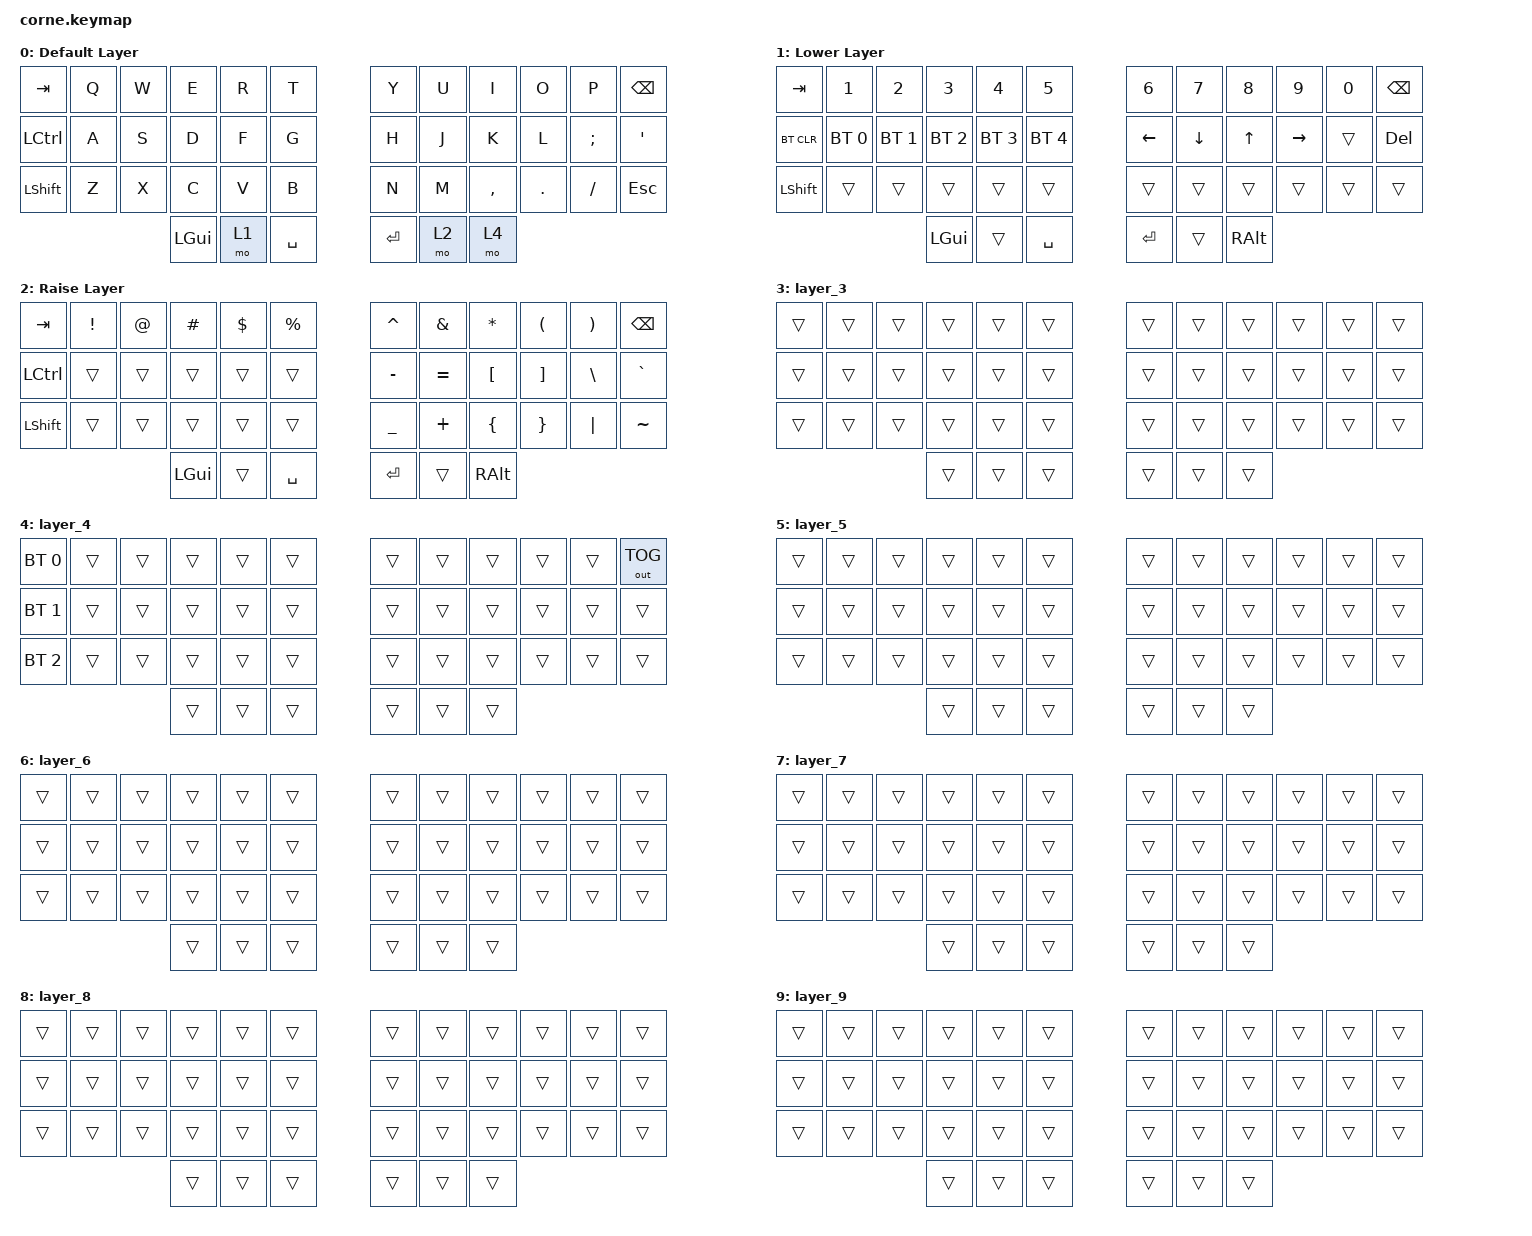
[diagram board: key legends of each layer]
/*
 * Copyright (c) 2020 The ZMK Contributors
 *
 * SPDX-License-Identifier: MIT
 */

#include <behaviors.dtsi>
#include <dt-bindings/zmk/bt.h>
#include <dt-bindings/zmk/keys.h>
#include <dt-bindings/zmk/outputs.h>

/ {
    combos {
        compatible = "zmk,combos";

        sd {
            bindings = <&kp LEFT_SHIFT>;
            key-positions = <14 15>;
        };

        kl {
            bindings = <&kp RSHFT>;
            key-positions = <20 21>;
        };
    };

    macros {
        m2: m2 {
            compatible = "zmk,behavior-macro";
            #binding-cells = <0>;
            bindings = <&none &kp G &kp I &kp T &kp SPACE &kp S &kp T &kp A &kp T &kp U &kp S>;
            label = "M2";
        };

        m3: m3 {
            compatible = "zmk,behavior-macro";
            #binding-cells = <0>;
            bindings = <&none &kp G &kp I &kp T &kp SPACE &kp P &kp U &kp L &kp L &kp SPACE &kp O &kp R &kp I &kp G &kp I &kp N &kp SPACE &kp M &kp A &kp I &kp N>;
            label = "M3";
        };
    };

    keymap {
        compatible = "zmk,keymap";

        default_layer {
            display-name = "Default Layer";

            // -----------------------------------------------------------------------------------------
            // |  TAB |  Q  |  W  |  E  |  R  |  T  |   |  Y  |  U   |  I  |  O  |  P  | BSPC |
            // | CTRL |  A  |  S  |  D  |  F  |  G  |   |  H  |  J   |  K  |  L  |  ;  |  '   |
            // | SHFT |  Z  |  X  |  C  |  V  |  B  |   |  N  |  M   |  ,  |  .  |  /  | ESC  |
            //                    | GUI | LWR | SPC |   | ENT | RSE  | ALT |

            bindings = <
&kp TAB    &kp Q  &kp W  &kp E     &kp R  &kp T        &kp Y    &kp U  &kp I      &kp O    &kp P     &kp BSPC
&kp LCTRL  &kp A  &kp S  &kp D     &kp F  &kp G        &kp H    &kp J  &kp K      &kp L    &kp SEMI  &kp SQT
&kp LSHFT  &kp Z  &kp X  &kp C     &kp V  &kp B        &kp N    &kp M  &kp COMMA  &kp DOT  &kp FSLH  &kp ESC
                         &kp LGUI  &mo 1  &kp SPACE    &kp RET  &mo 2  &mo 4
            >;
        };

        lower_layer {
            display-name = "Lower Layer";

            // -----------------------------------------------------------------------------------------
            // |  TAB |  1  |  2  |  3  |  4  |  5  |   |  6  |  7  |  8  |  9  |  0  | BSPC |
            // | BTCLR| BT1 | BT2 | BT3 | BT4 | BT5 |   | LFT | DWN |  UP | RGT |     |      |
            // | SHFT |     |     |     |     |     |   |     |     |     |     |     |      |
            //                    | GUI |     | SPC |   | ENT |     | ALT |

            bindings = <
&kp TAB     &kp N1        &kp N2        &kp N3        &kp N4        &kp N5          &kp N6    &kp N7    &kp N8    &kp N9     &kp N0  &kp BSPC
&bt BT_CLR  &bt BT_SEL 0  &bt BT_SEL 1  &bt BT_SEL 2  &bt BT_SEL 3  &bt BT_SEL 4    &kp LEFT  &kp DOWN  &kp UP    &kp RIGHT  &trans  &kp DEL
&kp LSHFT   &trans        &trans        &trans        &trans        &trans          &trans    &trans    &trans    &trans     &trans  &trans
                                        &kp LGUI      &trans        &kp SPACE       &kp RET   &trans    &kp RALT
            >;
        };

        raise_layer {
            display-name = "Raise Layer";

            // -----------------------------------------------------------------------------------------
            // |  TAB |  !  |  @  |  #  |  $  |  %  |   |  ^  |  &  |  *  |  (  |  )  | BSPC |
            // | CTRL |     |     |     |     |     |   |  -  |  =  |  [  |  ]  |  \  |  `   |
            // | SHFT |     |     |     |     |     |   |  _  |  +  |  {  |  }  | "|" |  ~   |
            //                    | GUI |     | SPC |   | ENT |     | ALT |

            bindings = <
&kp TAB    &kp EXCL  &kp AT  &kp HASH  &kp DLLR  &kp PRCNT    &kp CARET  &kp AMPS   &kp ASTRK  &kp LPAR  &kp RPAR  &kp BSPC
&kp LCTRL  &trans    &trans  &trans    &trans    &trans       &kp MINUS  &kp EQUAL  &kp LBKT   &kp RBKT  &kp BSLH  &kp GRAVE
&kp LSHFT  &trans    &trans  &trans    &trans    &trans       &kp UNDER  &kp PLUS   &kp LBRC   &kp RBRC  &kp PIPE  &kp TILDE
                             &kp LGUI  &trans    &kp SPACE    &kp RET    &trans     &kp RALT
            >;
        };

        layer_3 {
            bindings = <
&trans  &trans  &trans  &trans  &trans  &trans    &trans  &trans  &trans  &trans  &trans  &trans
&trans  &trans  &trans  &trans  &trans  &trans    &trans  &trans  &trans  &trans  &trans  &trans
&trans  &trans  &trans  &trans  &trans  &trans    &trans  &trans  &trans  &trans  &trans  &trans
                        &trans  &trans  &trans    &trans  &trans  &trans
            >;
        };

        layer_4 {
            bindings = <
&bt BT_SEL 0  &trans  &trans  &trans  &trans  &trans    &trans  &trans  &trans  &trans  &trans  &out OUT_TOG
&bt BT_SEL 1  &trans  &trans  &trans  &trans  &trans    &trans  &trans  &trans  &trans  &trans  &trans
&bt BT_SEL 2  &trans  &trans  &trans  &trans  &trans    &trans  &trans  &trans  &trans  &trans  &trans
                              &trans  &trans  &trans    &trans  &trans  &trans
            >;
        };

        layer_5 {
            bindings = <
&trans  &trans  &trans  &trans  &trans  &trans    &trans  &trans  &trans  &trans  &trans  &trans
&trans  &trans  &trans  &trans  &trans  &trans    &trans  &trans  &trans  &trans  &trans  &trans
&trans  &trans  &trans  &trans  &trans  &trans    &trans  &trans  &trans  &trans  &trans  &trans
                        &trans  &trans  &trans    &trans  &trans  &trans
            >;
        };

        layer_6 {
            bindings = <
&trans  &trans  &trans  &trans  &trans  &trans    &trans  &trans  &trans  &trans  &trans  &trans
&trans  &trans  &trans  &trans  &trans  &trans    &trans  &trans  &trans  &trans  &trans  &trans
&trans  &trans  &trans  &trans  &trans  &trans    &trans  &trans  &trans  &trans  &trans  &trans
                        &trans  &trans  &trans    &trans  &trans  &trans
            >;
        };

        layer_7 {
            bindings = <
&trans  &trans  &trans  &trans  &trans  &trans    &trans  &trans  &trans  &trans  &trans  &trans
&trans  &trans  &trans  &trans  &trans  &trans    &trans  &trans  &trans  &trans  &trans  &trans
&trans  &trans  &trans  &trans  &trans  &trans    &trans  &trans  &trans  &trans  &trans  &trans
                        &trans  &trans  &trans    &trans  &trans  &trans
            >;
        };

        layer_8 {
            bindings = <
&trans  &trans  &trans  &trans  &trans  &trans    &trans  &trans  &trans  &trans  &trans  &trans
&trans  &trans  &trans  &trans  &trans  &trans    &trans  &trans  &trans  &trans  &trans  &trans
&trans  &trans  &trans  &trans  &trans  &trans    &trans  &trans  &trans  &trans  &trans  &trans
                        &trans  &trans  &trans    &trans  &trans  &trans
            >;
        };

        layer_9 {
            bindings = <
&trans  &trans  &trans  &trans  &trans  &trans    &trans  &trans  &trans  &trans  &trans  &trans
&trans  &trans  &trans  &trans  &trans  &trans    &trans  &trans  &trans  &trans  &trans  &trans
&trans  &trans  &trans  &trans  &trans  &trans    &trans  &trans  &trans  &trans  &trans  &trans
                        &trans  &trans  &trans    &trans  &trans  &trans
            >;
        };
    };
};
